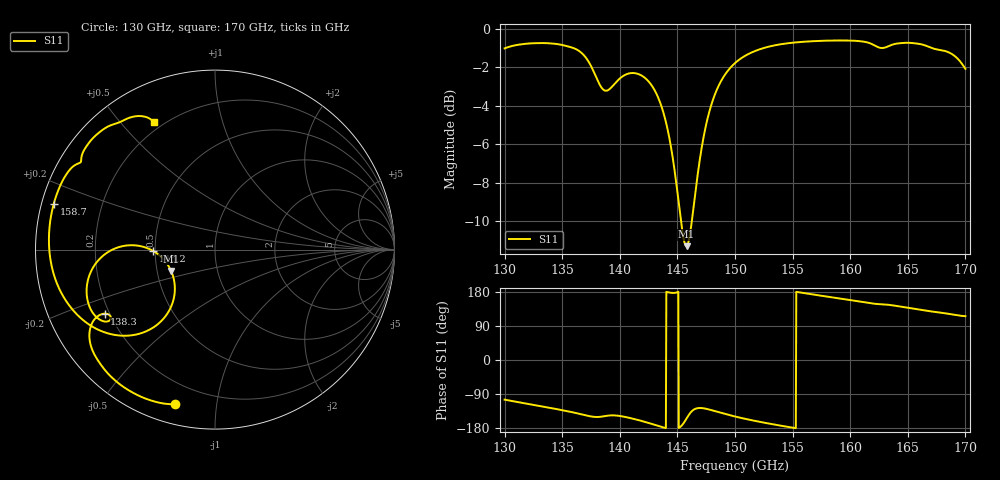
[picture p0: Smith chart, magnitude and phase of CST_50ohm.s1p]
! TOUCHSTONE file generated by CST MICROWAVE STUDIO
! Date and time: Fri Nov 20 15:41:45 2026
! Project name: Matched_Quarterwave_4x4.cst
! Parameters = {board_x_max=2.4; board_x_min=-3.12; eps_r=3.5; extension_l50_mm=0.554; extension_lq_mm=0.31; extension_match_width_mm=0.69; feed_width=0.1688; first_split_x=-2.9; inlet_rail_separation=0.225; inset_gap=0.02; inset_length=0.165; launch_length=0.5; loss_tangent=0.0027; mesh_box=30; mes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
! Header version: 2024
! Port assignment regex: !\s*Touchstone port\s*([0-9]+)\s*=\s*(CST MWS port|CST DES external port|CST DES block port)\s*(.+)\s* \(\"(.*)\"\)(\s*mode\s*([0-9]+))?.*
! Touchstone port assignment:
! Touchstone port 1 = CST MWS port 1 ("50ohm_microstrip")
# GHz S RI R 50
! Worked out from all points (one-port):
!   1001 points, 130 GHz to 170 GHz, reference 50 ohm
!   lowest |S11| = -11.3 dB at 145.8 GHz (marker M1), VSWR 1.75, Z = 29.6 - j7.6 ohm
!   |S11| at or under -10 dB: 145.3 GHz to 146.3 GHz (945.7 MHz wide, 0.649 % of centre)
!   S11 on the Smith chart (normalised r, x): 130 GHz: 0.09, -0.77; 138.3 GHz: 0.18, -0.26; 145.2 GHz: 0.49, -0.01; 158.7 GHz: 0.03, +0.14; 170 GHz: 0.16, +0.62
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130  -0.2251 -0.8619
132.44  -0.4324 -0.8103
135  -0.6132 -0.6711
136.96  -0.7 -0.4815
137.76  -0.6685 -0.3851
138.32  -0.6148 -0.3568
139.04  -0.5802 -0.3828
140  -0.6285 -0.3971
141.56  -0.7096 -0.2843
142.8  -0.6974 -0.137
143.48  -0.6439 -0.0529
144.12  -0.5528 0.00797
145  -0.376 0.00762
145.16  -0.3434 -0.00818
145.52  -0.2796 -0.0622
145.8  -0.2445 -0.1187
146.12  -0.225 -0.1919
146.6  -0.2378 -0.3009
147.68  -0.3831 -0.4551
148.68  -0.5409 -0.4779
150  -0.6997 -0.4188
152.28  -0.854 -0.2456
155  -0.9212 -0.0231
158.68  -0.8983 0.2552
160  -0.8661 0.3478
165  -0.6843 0.6167
168.48  -0.4623 0.739
170  -0.3416 0.7098
